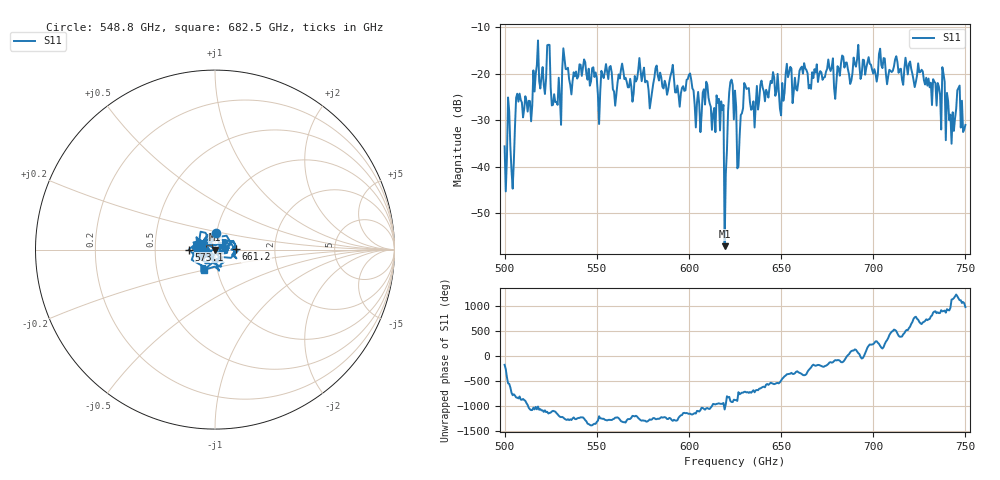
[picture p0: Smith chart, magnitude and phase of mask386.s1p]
!Created with skrf (http://scikit-rf.org).
# GHz S MA R 50.0
!freq magS11 angS11
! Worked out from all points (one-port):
!   401 points, 500 GHz to 750 GHz, reference 50 ohm
!   lowest |S11| = -57.0 dB at 619.4 GHz (marker M1), VSWR 1.00, Z = 50.1 + j0.0309 ohm
!   |S11| at or under -10 dB: start of sweep to end of sweep
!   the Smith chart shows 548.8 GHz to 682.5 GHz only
!   S11 on the Smith chart (normalised r, x): 548.8 GHz: 0.99, +0.18; 573.1 GHz: 0.74, -0.00; 661.2 GHz: 1.27, +0.01; 682.5 GHz: 0.87, -0.20
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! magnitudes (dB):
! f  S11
! 500 GHz  -35.6
! 504.4 GHz  -44.7
! 507.5 GHz  -26.0
! 513.8 GHz  -25.9
! 516.9 GHz  -20.1
! 523.8 GHz  -13.8
! 526.9 GHz  -24.4
! 531.2 GHz  -19.1
! 548.8 GHz  -20.7
! 562.5 GHz  -21.1
! 573.1 GHz  -16.7
! 593.8 GHz  -22.6
! 616.2 GHz  -25.4
! 619.4 GHz  -57.0
! 620.6 GHz  -36.5
! 622.5 GHz  -21.8
! 625 GHz  -23.7
! 627.5 GHz  -33.6
! 631.2 GHz  -23.3
! 635 GHz  -26.0
! 656.2 GHz  -26.3
! 661.2 GHz  -18.5
! 682.5 GHz  -17.9
! 687.5 GHz  -22.2
! 718.8 GHz  -20.2
! 742.5 GHz  -35.1
! 746.9 GHz  -22.6
! 750 GHz  -31.0
